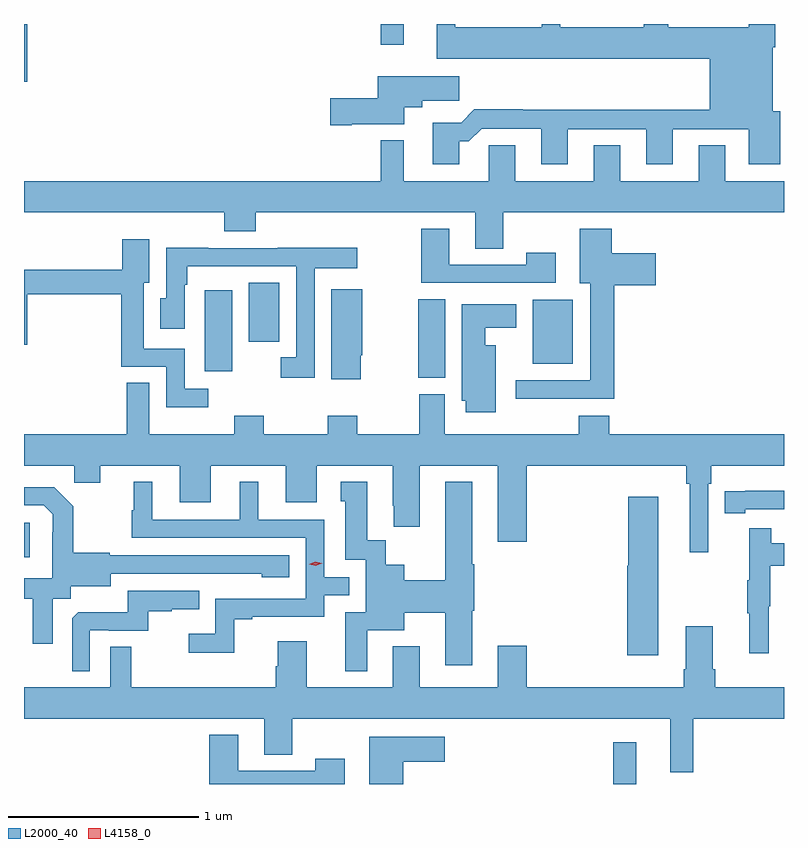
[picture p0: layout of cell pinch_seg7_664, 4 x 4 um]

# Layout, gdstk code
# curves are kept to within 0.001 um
import gdstk
lib = gdstk.Library(unit=1e-6, precision=1e-09)
def R(c, l, rs):  # rectangles x0, y0, x1, y1
    for r in rs: c.add(gdstk.rectangle(r[:2], r[2:], *l))
def P(c, l, *ps):  # polygons
    for p in ps: c.add(gdstk.Polygon(p, *l))
L2000_40 = (2000, 40)
L4158_0 = (4158, 0)

pinch_seg7_664 = lib.new_cell('pinch_seg7_664')
R(pinch_seg7_664, L2000_40, [(280.266,1002.936,280.387,1003.156), (277.165,1004.13,277.195,1004.31), (279.241,1005.073,279.382,1005.488), (278.117,1005.108,278.26,1005.535), (279.842,1005.149,280.054,1005.484), (278.348,1005.264,278.509,1005.575), (277.165,1006.631,277.181,1006.936), (279.042,1006.827,279.163,1006.936)])
P(pinch_seg7_664, L2000_40, [(279.457,1006.319),(279.506,1006.319),(279.573,1006.386),(279.887,1006.386),(279.887,1006.197),(280.027,1006.197),(280.027,1006.383),(280.439,1006.383),(280.439,1006.197),(280.579,1006.197),(280.579,1006.383),(280.979,1006.383),(280.979,1006.197),(281.144,1006.197),(281.144,1006.476),(281.107,1006.476),(281.107,1006.814),(281.12,1006.814),(281.12,1006.936),(280.979,1006.936),(280.979,1006.918),(280.555,1006.918),(280.555,1006.936),(280.427,1006.936),(280.427,1006.918),(279.988,1006.918),(279.988,1006.936),(279.89,1006.936),(279.89,1006.918),(279.436,1006.918),(279.436,1006.936),(279.338,1006.936),(279.338,1006.754),(280.775,1006.754),(280.775,1006.484),(279.791,1006.484),(279.791,1006.487),(279.536,1006.487),(279.466,1006.417),(279.317,1006.417),(279.317,1006.197),(279.457,1006.197)],
  [(278.89,1006.409),(279.166,1006.409),(279.166,1006.499),(279.262,1006.499),(279.262,1006.531),(279.457,1006.531),(279.457,1006.66),(279.026,1006.66),(279.026,1006.544),(278.778,1006.544),(278.778,1006.402),(278.89,1006.402)],
  [(279.687,1005.944),(281.165,1005.944),(281.165,1006.108),(280.855,1006.108),(280.855,1006.298),(280.715,1006.298),(280.715,1006.108),(280.303,1006.108),(280.303,1006.298),(280.163,1006.298),(280.163,1006.108),(279.751,1006.108),(279.751,1006.298),(279.612,1006.298),(279.612,1006.108),(279.163,1006.108),(279.163,1006.324),(279.042,1006.324),(279.042,1006.108),(277.165,1006.108),(277.165,1005.944),(278.219,1005.944),(278.219,1005.845),(278.384,1005.845),(278.384,1005.944),(279.539,1005.944),(279.539,1005.754),(279.687,1005.754)],
  [(279.964,1005.733),(279.808,1005.733),(279.808,1005.669),(279.403,1005.669),(279.403,1005.859),(279.256,1005.859),(279.256,1005.573),(279.964,1005.573)],
  [(280.271,1005.56),(280.489,1005.56),(280.489,1005.73),(280.258,1005.73),(280.258,1005.859),(280.091,1005.859),(280.091,1005.572),(280.145,1005.572),(280.145,1005.06),(279.753,1005.06),(279.753,1004.963),(280.271,1004.963)],
  [(278.134,1005.015),(278.01,1005.015),(278.01,1005.228),(277.795,1005.228),(277.795,1005.573),(277.825,1005.573),(277.825,1005.802),(277.682,1005.802),(277.682,1005.643),(277.165,1005.643),(277.165,1005.249),(277.181,1005.249),(277.181,1005.514),(277.677,1005.514),(277.677,1005.132),(277.914,1005.132),(277.914,1004.918),(278.134,1004.918)],
  [(278.694,1005.65),(278.92,1005.65),(278.92,1005.758),(278.501,1005.758),(278.501,1005.756),(278.135,1005.756),(278.135,1005.758),(277.914,1005.758),(277.914,1005.492),(277.883,1005.492),(277.883,1005.333),(278.01,1005.333),(278.01,1005.563),(278.023,1005.563),(278.023,1005.66),(278.598,1005.66),(278.598,1005.183),(278.517,1005.183),(278.517,1005.075),(278.694,1005.075)],
  [(278.937,1005.192),(278.944,1005.192),(278.944,1005.541),(278.783,1005.541),(278.783,1005.066),(278.937,1005.066)],
  [(279.649,1005.244),(279.592,1005.244),(279.592,1005.338),(279.757,1005.338),(279.757,1005.46),(279.47,1005.46),(279.47,1004.952),(279.491,1004.952),(279.491,1004.892),(279.649,1004.892)],
  [(280.767,1004.516),(280.781,1004.516),(280.781,1004.612),(281.165,1004.612),(281.165,1004.776),(280.244,1004.776),(280.244,1004.875),(280.084,1004.875),(280.084,1004.776),(279.379,1004.776),(279.379,1004.988),(279.244,1004.988),(279.244,1004.776),(278.919,1004.776),(278.919,1004.875),(278.764,1004.875),(278.764,1004.776),(278.427,1004.776),(278.427,1004.875),(278.272,1004.875),(278.272,1004.776),(277.825,1004.776),(277.825,1005.047),(277.707,1005.047),(277.707,1004.776),(277.165,1004.776),(277.165,1004.612),(277.429,1004.612),(277.429,1004.522),(277.567,1004.522),(277.567,1004.612),(277.985,1004.612),(277.985,1004.418),(278.149,1004.418),(278.149,1004.612),(278.543,1004.612),(278.543,1004.418),(278.707,1004.418),(278.707,1004.612),(279.107,1004.612),(279.107,1004.401),(279.11,1004.401),(279.11,1004.289),(279.247,1004.289),(279.247,1004.612),(279.659,1004.612),(279.659,1004.211),(279.812,1004.211),(279.812,1004.612),(280.651,1004.612),(280.651,1004.516),(280.67,1004.516),(280.67,1004.157),(280.767,1004.157)],
  [(278.971,1003.745),(279.166,1003.745),(279.166,1003.837),(279.383,1003.837),(279.383,1003.56),(279.523,1003.56),(279.523,1003.848),(279.536,1003.848),(279.536,1004.092),(279.523,1004.092),(279.523,1004.527),(279.383,1004.527),(279.383,1004.009),(279.166,1004.009),(279.166,1004.089),(279.069,1004.089),(279.069,1004.219),(278.971,1004.219),(278.971,1004.527),(278.831,1004.527),(278.831,1004.424),(278.855,1004.424),(278.855,1004.115),(278.964,1004.115),(278.964,1003.839),(278.855,1003.839),(278.855,1003.53),(278.971,1003.53)],
  [(278.271,1003.803),(278.365,1003.803),(278.365,1003.815),(278.745,1003.815),(278.745,1003.929),(278.878,1003.929),(278.878,1004.025),(278.745,1004.025),(278.745,1004.328),(278.398,1004.328),(278.398,1004.527),(278.3,1004.527),(278.3,1004.328),(277.84,1004.328),(277.84,1004.527),(277.742,1004.527),(277.742,1004.376),(277.731,1004.376),(277.731,1004.232),(278.649,1004.232),(278.649,1003.911),(278.172,1003.911),(278.172,1003.726),(278.031,1003.726),(278.031,1003.628),(278.271,1003.628)],
  [(277.315,1003.912),(277.41,1003.912),(277.41,1003.976),(277.621,1003.976),(277.621,1004.043),(278.415,1004.042),(278.415,1004.024),(278.56,1004.024),(278.56,1004.139),(277.617,1004.139),(277.617,1004.152),(277.425,1004.152),(277.425,1004.397),(277.325,1004.497),(277.165,1004.497),(277.165,1004.403),(277.269,1004.403),(277.316,1004.356),(277.316,1004.261),(277.314,1004.261),(277.314,1004.02),(277.165,1004.02),(277.165,1003.91),(277.211,1003.91),(277.211,1003.674),(277.315,1003.674)],
  [(280.96,1004.382),(281.165,1004.382),(281.165,1004.479),(280.96,1004.479),(280.96,1004.478),(280.852,1004.478),(280.852,1004.362),(280.96,1004.362)],
  [(280.504,1004.449),(280.346,1004.449),(280.346,1004.085),(280.34,1004.085),(280.34,1003.614),(280.504,1003.614)],
  [(281.084,1003.872),(281.092,1003.872),(281.092,1004.086),(281.165,1004.086),(281.165,1004.202),(281.099,1004.202),(281.099,1004.281),(280.982,1004.281),(280.982,1004.009),(280.971,1004.009),(280.971,1003.835),(280.982,1003.835),(280.982,1003.623),(281.084,1003.623)],
  [(277.512,1003.746),(277.612,1003.746),(277.612,1003.743),(277.82,1003.743),(277.82,1003.845),(277.943,1003.845),(277.943,1003.856),(278.087,1003.856),(278.087,1003.953),(277.71,1003.953),(277.71,1003.841),(277.451,1003.841),(277.419,1003.809),(277.419,1003.529),(277.512,1003.529)],
  [(280.687,1003.28),(281.165,1003.28),(281.165,1003.444),(280.802,1003.444),(280.802,1003.54),(280.789,1003.54),(280.789,1003.765),(280.649,1003.765),(280.649,1003.54),(280.637,1003.54),(280.637,1003.444),(279.812,1003.444),(279.812,1003.663),(279.659,1003.663),(279.659,1003.444),(279.247,1003.444),(279.247,1003.66),(279.107,1003.66),(279.107,1003.444),(278.653,1003.444),(278.653,1003.687),(278.501,1003.687),(278.501,1003.557),(278.489,1003.557),(278.489,1003.444),(277.729,1003.444),(277.729,1003.658),(277.62,1003.658),(277.62,1003.444),(277.165,1003.444),(277.165,1003.28),(278.429,1003.28),(278.429,1003.09),(278.577,1003.09),(278.577,1003.28),(280.565,1003.28),(280.565,1002.999),(280.687,1002.999)],
  [(278.854,1003.069),(278.698,1003.069),(278.698,1003.005),(278.293,1003.005),(278.293,1003.195),(278.141,1003.195),(278.141,1002.936),(278.854,1002.936)],
  [(279.161,1003.052),(279.379,1003.052),(279.379,1003.186),(278.981,1003.186),(278.981,1002.936),(279.161,1002.936)])
P(pinch_seg7_664, L4158_0, [(278.7,1004.085),(278.665,1004.092),(278.665,1004.093),(278.665,1004.093),(278.698,1004.105),(278.733,1004.098),(278.734,1004.098),(278.733,1004.097)])

lib.write_gds('pinch_seg7_664.gds')
